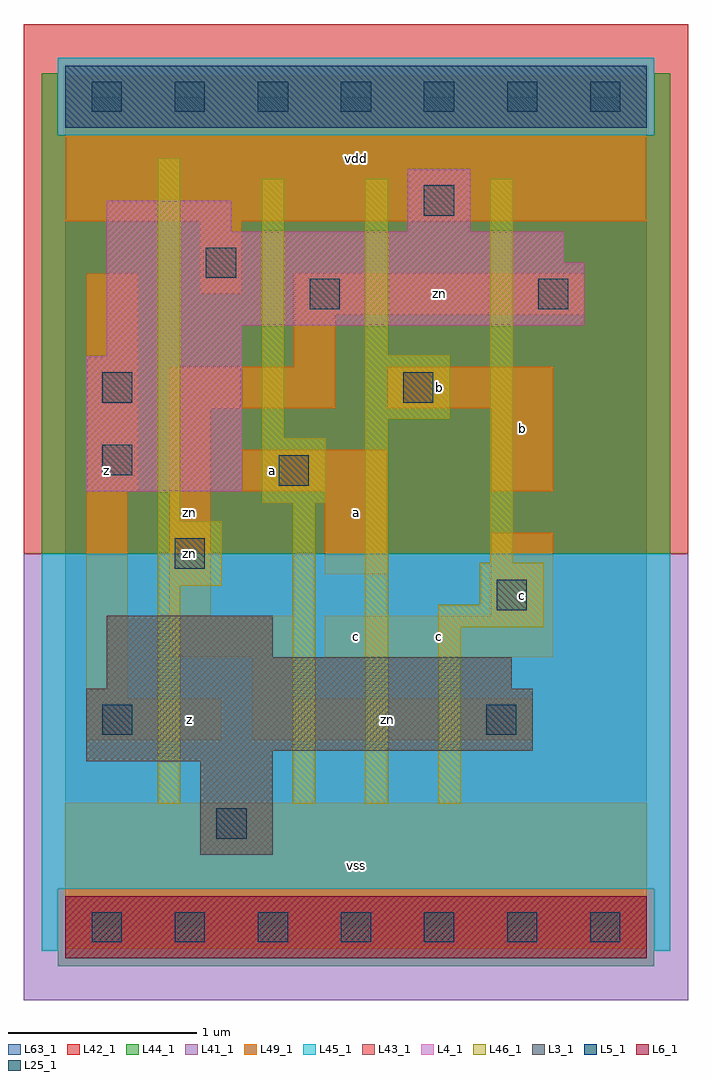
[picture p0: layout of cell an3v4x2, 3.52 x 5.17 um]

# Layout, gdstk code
import gdstk
lib = gdstk.Library(unit=1e-6, precision=1e-09)
def R(c, l, rs):  # rectangles x0, y0, x1, y1
    for r in rs: c.add(gdstk.rectangle(r[:2], r[2:], *l))
def A(c, l, x, y, w, h, nx, ny, dx, dy):  # array of equal rectangles
    R(c, l, [(x+i*dx, y+j*dy, x+i*dx+w, y+j*dy+h) for i in range(nx) for j in range(ny)])
L3_1 = (3, 1)
L4_1 = (4, 1)
L5_1 = (5, 1)
L6_1 = (6, 1)
L25_1 = (25, 1)
L41_1 = (41, 1)
L42_1 = (42, 1)
L43_1 = (43, 1)
L44_1 = (44, 1)
L45_1 = (45, 1)
L46_1 = (46, 1)
L49_1 = (49, 1)
L63_1 = (63, 1)

an3v4x2 = lib.new_cell('an3v4x2')
R(an3v4x2, L3_1, [(0.715,0.385,1.1,0.88), (0.11,0.88,1.1,0.935), (0.11,0.935,2.475,1.265), (0.22,1.265,2.365,1.43), (0.22,1.43,1.1,1.65)])
R(an3v4x2, L4_1, [(0.11,2.31,0.935,3.025), (0.22,3.025,0.935,3.19), (0.22,3.19,2.75,3.52), (0.22,3.52,2.64,3.685), (0.22,3.685,0.88,3.85), (1.815,3.685,2.145,4.015)])
R(an3v4x2, L5_1, [(0,4.235,3.08,4.565)])
R(an3v4x2, L6_1, [(0,-0.165,3.08,0.165)])
A(an3v4x2, L25_1, 0.14, -0.08, 0.16, 0.16, 7, 2, 0.44, 4.4)
R(an3v4x2, L25_1, [(0.8,0.47,0.96,0.63), (0.195,1.02,0.355,1.18), (2.23,1.02,2.39,1.18), (2.285,1.68,2.445,1.84), (0.58,1.9,0.74,2.06), (1.13,2.34,1.29,2.5), (0.195,2.395,0.355,2.555), (0.195,2.78,0.355,2.94), (1.79,2.78,1.95,2.94), (1.295,3.275,1.455,3.435), (2.505,3.275,2.665,3.435), (0.745,3.44,0.905,3.6), (1.9,3.77,2.06,3.93)])
R(an3v4x2, L41_1, [(-0.22,-0.385,3.3,1.98)])
R(an3v4x2, L42_1, [(-0.22,1.98,3.3,4.785)])
R(an3v4x2, L43_1, [(0,-0.165,3.08,0.165), (0.715,0.385,1.1,0.88), (0.11,0.88,1.1,0.935), (0.11,0.935,2.475,1.265), (0.22,1.265,2.365,1.43), (0.22,1.43,1.1,1.65), (0.11,2.31,0.935,3.025), (0.22,3.025,0.935,3.19), (0.22,3.19,2.75,3.52), (0.22,3.52,2.64,3.685), (0.22,3.685,0.88,3.85), (1.815,3.685,2.145,4.015), (0,4.235,3.08,4.565)])
R(an3v4x2, L44_1, [(-0.04,-0.205,3.12,0.205), (-0.125,1.98,3.205,4.195), (-0.125,4.195,-0.04,4.525), (3.12,4.195,3.205,4.525)])
R(an3v4x2, L45_1, [(-0.125,-0.125,-0.04,0.205), (3.12,-0.125,3.205,0.205), (-0.125,0.205,3.205,1.98), (-0.04,4.195,3.12,4.605)])
R(an3v4x2, L46_1, [(0.49,0.655,0.61,1.81), (1.205,0.655,1.325,2.25), (1.59,0.655,1.71,2.69), (1.975,0.655,2.095,1.59), (1.975,1.59,2.535,1.71), (2.195,1.71,2.535,1.93), (0.49,1.81,0.83,2.15), (2.25,1.93,2.37,3.965), (0.49,2.15,0.61,4.075), (1.04,2.25,1.38,2.59), (1.04,2.59,1.16,3.965), (1.59,2.69,2.04,3.03), (1.59,3.03,1.71,3.965)])
R(an3v4x2, L49_1, [(0,-0.11,3.08,0.66), (0.11,0.99,0.825,1.21), (0.99,0.99,2.475,1.21), (0.11,1.21,0.33,2.31), (0.99,1.21,1.21,1.43), (0.55,1.43,1.21,1.65), (1.375,1.43,2.585,1.65), (0.55,1.65,0.77,2.75), (2.255,1.65,2.585,2.09), (1.375,1.87,1.705,2.31), (0.11,2.31,0.385,3.465), (0.935,2.31,1.705,2.53), (2.255,2.31,2.585,2.75), (0.55,2.75,1.43,2.97), (1.705,2.75,2.585,2.97), (1.21,2.97,1.43,3.245), (1.21,3.245,2.75,3.465), (0.715,3.355,0.935,3.74), (0,3.74,3.08,4.51)])
R(an3v4x2, L63_1, [(0,0,3.08,4.4)])
an3v4x2.add(gdstk.Label('zn', (0.66,1.98), layer=49, texttype=1))
an3v4x2.add(gdstk.Label('z', (0.22,2.42), layer=49, texttype=1))
an3v4x2.add(gdstk.Label('z', (0.66,1.1), layer=49, texttype=1))
an3v4x2.add(gdstk.Label('a', (1.1,2.42), layer=49, texttype=1))
an3v4x2.add(gdstk.Label('zn', (0.66,2.2), layer=49, texttype=1))
an3v4x2.add(gdstk.Label('vss', (1.54,0.33), layer=49, texttype=1))
an3v4x2.add(gdstk.Label('c', (1.54,1.54), layer=49, texttype=1))
an3v4x2.add(gdstk.Label('c', (1.98,1.54), layer=49, texttype=1))
an3v4x2.add(gdstk.Label('a', (1.54,2.2), layer=49, texttype=1))
an3v4x2.add(gdstk.Label('b', (1.98,2.86), layer=49, texttype=1))
an3v4x2.add(gdstk.Label('vdd', (1.54,4.07), layer=49, texttype=1))
an3v4x2.add(gdstk.Label('zn', (1.705,1.1), layer=49, texttype=1))
an3v4x2.add(gdstk.Label('c', (2.42,1.76), layer=49, texttype=1))
an3v4x2.add(gdstk.Label('b', (2.42,2.64), layer=49, texttype=1))
an3v4x2.add(gdstk.Label('zn', (1.98,3.355), layer=49, texttype=1))

lib.write_gds('an3v4x2.gds')
